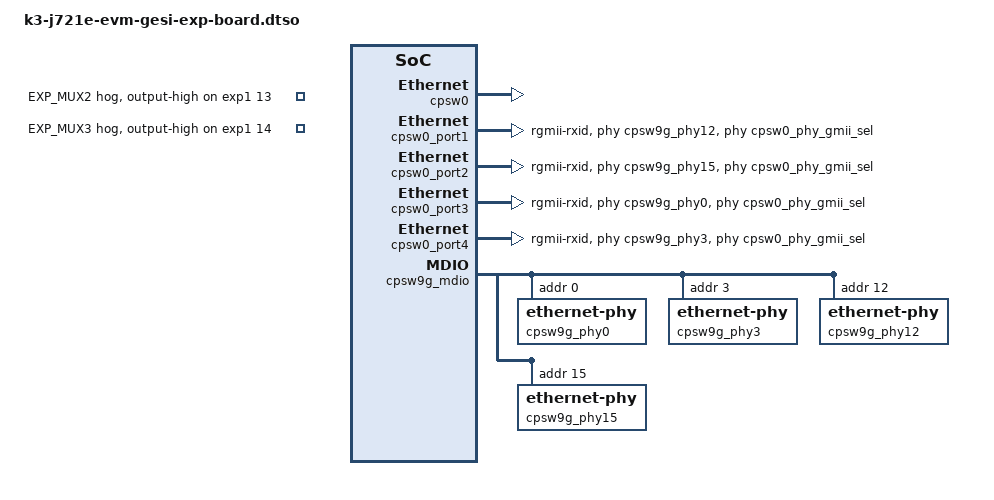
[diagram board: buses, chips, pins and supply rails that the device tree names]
// SPDX-License-Identifier: GPL-2.0-only OR MIT
/**
 * DT Overlay for CPSW9G in RGMII mode using J7 GESI EXP BRD board with
 * J721E board.
 *
 * GESI Board Product Link: https://www.ti.com/tool/J7EXPCXEVM
 *
 * Copyright (C) 2023-2024 Texas Instruments Incorporated - https://www.ti.com/
 */

/dts-v1/;
/plugin/;

#include <dt-bindings/gpio/gpio.h>
#include <dt-bindings/net/ti-dp83867.h>

#include "k3-pinctrl.h"

&{/} {
	aliases {
		ethernet1 = "/bus@100000/ethernet@c000000/ethernet-ports/port@1";
		ethernet2 = "/bus@100000/ethernet@c000000/ethernet-ports/port@2";
		ethernet3 = "/bus@100000/ethernet@c000000/ethernet-ports/port@3";
		ethernet4 = "/bus@100000/ethernet@c000000/ethernet-ports/port@4";
	};
};

&cpsw0 {
	status = "okay";
	pinctrl-names = "default";
	pinctrl-0 = <&rgmii1_default_pins
		     &rgmii2_default_pins
		     &rgmii3_default_pins
		     &rgmii4_default_pins>;
};

&cpsw0_port1 {
	status = "okay";
	phy-handle = <&cpsw9g_phy12>;
	phy-mode = "rgmii-rxid";
	mac-address = [00 00 00 00 00 00];
	phys = <&cpsw0_phy_gmii_sel 1>;
};

&cpsw0_port2 {
	status = "okay";
	phy-handle = <&cpsw9g_phy15>;
	phy-mode = "rgmii-rxid";
	mac-address = [00 00 00 00 00 00];
	phys = <&cpsw0_phy_gmii_sel 2>;
};

&cpsw0_port3 {
	status = "okay";
	phy-handle = <&cpsw9g_phy0>;
	phy-mode = "rgmii-rxid";
	mac-address = [00 00 00 00 00 00];
	phys = <&cpsw0_phy_gmii_sel 3>;
};

&cpsw0_port4 {
	status = "okay";
	phy-handle = <&cpsw9g_phy3>;
	phy-mode = "rgmii-rxid";
	mac-address = [00 00 00 00 00 00];
	phys = <&cpsw0_phy_gmii_sel 4>;
};

&cpsw9g_mdio {
	status = "okay";
	pinctrl-names = "default";
	pinctrl-0 = <&mdio0_default_pins>;
	bus_freq = <1000000>;
	#address-cells = <1>;
	#size-cells = <0>;

	cpsw9g_phy0: ethernet-phy@0 {
		reg = <0>;
		ti,rx-internal-delay = <DP83867_RGMIIDCTL_2_00_NS>;
		ti,fifo-depth = <DP83867_PHYCR_FIFO_DEPTH_4_B_NIB>;
		ti,min-output-impedance;
	};
	cpsw9g_phy3: ethernet-phy@3 {
		reg = <3>;
		ti,rx-internal-delay = <DP83867_RGMIIDCTL_2_00_NS>;
		ti,fifo-depth = <DP83867_PHYCR_FIFO_DEPTH_4_B_NIB>;
		ti,min-output-impedance;
	};
	cpsw9g_phy12: ethernet-phy@12 {
		reg = <12>;
		ti,rx-internal-delay = <DP83867_RGMIIDCTL_2_00_NS>;
		ti,fifo-depth = <DP83867_PHYCR_FIFO_DEPTH_4_B_NIB>;
		ti,min-output-impedance;
	};
	cpsw9g_phy15: ethernet-phy@15 {
		reg = <15>;
		ti,rx-internal-delay = <DP83867_RGMIIDCTL_2_00_NS>;
		ti,fifo-depth = <DP83867_PHYCR_FIFO_DEPTH_4_B_NIB>;
		ti,min-output-impedance;
	};
};

&exp1 {
	p15-hog {
		/* P15 - EXP_MUX2 */
		gpio-hog;
		gpios = <13 GPIO_ACTIVE_HIGH>;
		output-high;
		line-name = "EXP_MUX2";
	};

	p16-hog {
		/* P16 - EXP_MUX3 */
		gpio-hog;
		gpios = <14 GPIO_ACTIVE_HIGH>;
		output-high;
		line-name = "EXP_MUX3";
	};
};

&main_pmx0 {
	mdio0_default_pins: mdio0-default-pins {
		pinctrl-single,pins = <
			J721E_IOPAD(0x1bc, PIN_OUTPUT, 0) /* (V24) MDIO0_MDC */
			J721E_IOPAD(0x1b8, PIN_INPUT, 0) /* (V26) MDIO0_MDIO */
		>;
	};

	rgmii1_default_pins: rgmii1-default-pins {
		pinctrl-single,pins = <
			J721E_IOPAD(0x4, PIN_INPUT, 4) /* (AC23) PRG1_PRU0_GPO0.RGMII1_RD0 */
			J721E_IOPAD(0x8, PIN_INPUT, 4) /* (AG22) PRG1_PRU0_GPO1.RGMII1_RD1 */
			J721E_IOPAD(0xc, PIN_INPUT, 4) /* (AF22) PRG1_PRU0_GPO2.RGMII1_RD2 */
			J721E_IOPAD(0x10, PIN_INPUT, 4) /* (AJ23) PRG1_PRU0_GPO3.RGMII1_RD3 */
			J721E_IOPAD(0x1c, PIN_INPUT, 4) /* (AD22) PRG1_PRU0_GPO6.RGMII1_RXC */
			J721E_IOPAD(0x14, PIN_INPUT, 4) /* (AH23) PRG1_PRU0_GPO4.RGMII1_RX_CTL */
			J721E_IOPAD(0x30, PIN_OUTPUT, 4) /* (AF24) PRG1_PRU0_GPO11.RGMII1_TD0 */
			J721E_IOPAD(0x34, PIN_OUTPUT, 4) /* (AJ24) PRG1_PRU0_GPO12.RGMII1_TD1 */
			J721E_IOPAD(0x38, PIN_OUTPUT, 4) /* (AG24) PRG1_PRU0_GPO13.RGMII1_TD2 */
			J721E_IOPAD(0x3c, PIN_OUTPUT, 4) /* (AD24) PRG1_PRU0_GPO14.RGMII1_TD3 */
			J721E_IOPAD(0x44, PIN_OUTPUT, 4) /* (AE24) PRG1_PRU0_GPO16.RGMII1_TXC */
			J721E_IOPAD(0x40, PIN_OUTPUT, 4) /* (AC24) PRG1_PRU0_GPO15.RGMII1_TX_CTL */
		>;
	};

	rgmii2_default_pins: rgmii2-default-pins {
		pinctrl-single,pins = <
			J721E_IOPAD(0x58, PIN_INPUT, 4) /* (AE22) PRG1_PRU1_GPO0.RGMII2_RD0 */
			J721E_IOPAD(0x5c, PIN_INPUT, 4) /* (AG23) PRG1_PRU1_GPO1.RGMII2_RD1 */
			J721E_IOPAD(0x60, PIN_INPUT, 4) /* (AF23) PRG1_PRU1_GPO2.RGMII2_RD2 */
			J721E_IOPAD(0x64, PIN_INPUT, 4) /* (AD23) PRG1_PRU1_GPO3.RGMII2_RD3 */
			J721E_IOPAD(0x70, PIN_INPUT, 4) /* (AE23) PRG1_PRU1_GPO6.RGMII2_RXC */
			J721E_IOPAD(0x68, PIN_INPUT, 4) /* (AH24) PRG1_PRU1_GPO4.RGMII2_RX_CTL */
			J721E_IOPAD(0x84, PIN_OUTPUT, 4) /* (AJ25) PRG1_PRU1_GPO11.RGMII2_TD0 */
			J721E_IOPAD(0x88, PIN_OUTPUT, 4) /* (AH25) PRG1_PRU1_GPO12.RGMII2_TD1 */
			J721E_IOPAD(0x8c, PIN_OUTPUT, 4) /* (AG25) PRG1_PRU1_GPO13.RGMII2_TD2 */
			J721E_IOPAD(0x90, PIN_OUTPUT, 4) /* (AH26) PRG1_PRU1_GPO14.RGMII2_TD3 */
			J721E_IOPAD(0x98, PIN_OUTPUT, 4) /* (AJ26) PRG1_PRU1_GPO16.RGMII2_TXC */
			J721E_IOPAD(0x94, PIN_OUTPUT, 4) /* (AJ27) PRG1_PRU1_GPO15.RGMII2_TX_CTL */
		>;
	};

	rgmii3_default_pins: rgmii3-default-pins {
		pinctrl-single,pins = <
			J721E_IOPAD(0xb0, PIN_INPUT, 4) /* (AF28) PRG0_PRU0_GPO0.RGMII3_RD0 */
			J721E_IOPAD(0xb4, PIN_INPUT, 4) /* (AE28) PRG0_PRU0_GPO1.RGMII3_RD1 */
			J721E_IOPAD(0xb8, PIN_INPUT, 4) /* (AE27) PRG0_PRU0_GPO2.RGMII3_RD2 */
			J721E_IOPAD(0xbc, PIN_INPUT, 4) /* (AD26) PRG0_PRU0_GPO3.RGMII3_RD3 */
			J721E_IOPAD(0xc8, PIN_INPUT, 4) /* (AE26) PRG0_PRU0_GPO6.RGMII3_RXC */
			J721E_IOPAD(0xc0, PIN_INPUT, 4) /* (AD25) PRG0_PRU0_GPO4.RGMII3_RX_CTL */
			J721E_IOPAD(0xdc, PIN_OUTPUT, 4) /* (AJ28) PRG0_PRU0_GPO11.RGMII3_TD0 */
			J721E_IOPAD(0xe0, PIN_OUTPUT, 4) /* (AH27) PRG0_PRU0_GPO12.RGMII3_TD1 */
			J721E_IOPAD(0xe4, PIN_OUTPUT, 4) /* (AH29) PRG0_PRU0_GPO13.RGMII3_TD2 */
			J721E_IOPAD(0xe8, PIN_OUTPUT, 4) /* (AG28) PRG0_PRU0_GPO14.RGMII3_TD3 */
			J721E_IOPAD(0xf0, PIN_OUTPUT, 4) /* (AH28) PRG0_PRU0_GPO16.RGMII3_TXC */
			J721E_IOPAD(0xec, PIN_OUTPUT, 4) /* (AG27) PRG0_PRU0_GPO15.RGMII3_TX_CTL */
		>;
	};

	rgmii4_default_pins: rgmii4-default-pins {
		pinctrl-single,pins = <
			J721E_IOPAD(0x100, PIN_INPUT, 4) /* (AE29) PRG0_PRU1_GPO0.RGMII4_RD0 */
			J721E_IOPAD(0x104, PIN_INPUT, 4) /* (AD28) PRG0_PRU1_GPO1.RGMII4_RD1 */
			J721E_IOPAD(0x108, PIN_INPUT, 4) /* (AD27) PRG0_PRU1_GPO2.RGMII4_RD2 */
			J721E_IOPAD(0x10c, PIN_INPUT, 4) /* (AC25) PRG0_PRU1_GPO3.RGMII4_RD3 */
			J721E_IOPAD(0x118, PIN_INPUT, 4) /* (AC26) PRG0_PRU1_GPO6.RGMII4_RXC */
			J721E_IOPAD(0x110, PIN_INPUT, 4) /* (AD29) PRG0_PRU1_GPO4.RGMII4_RX_CTL */
			J721E_IOPAD(0x12c, PIN_OUTPUT, 4) /* (AG26) PRG0_PRU1_GPO11.RGMII4_TD0 */
			J721E_IOPAD(0x130, PIN_OUTPUT, 4) /* (AF27) PRG0_PRU1_GPO12.RGMII4_TD1 */
			J721E_IOPAD(0x134, PIN_OUTPUT, 4) /* (AF26) PRG0_PRU1_GPO13.RGMII4_TD2 */
			J721E_IOPAD(0x138, PIN_OUTPUT, 4) /* (AE25) PRG0_PRU1_GPO14.RGMII4_TD3 */
			J721E_IOPAD(0x140, PIN_OUTPUT, 4) /* (AG29) PRG0_PRU1_GPO16.RGMII4_TXC */
			J721E_IOPAD(0x13c, PIN_OUTPUT, 4) /* (AF29) PRG0_PRU1_GPO15.RGMII4_TX_CTL */
		>;
	};
};
